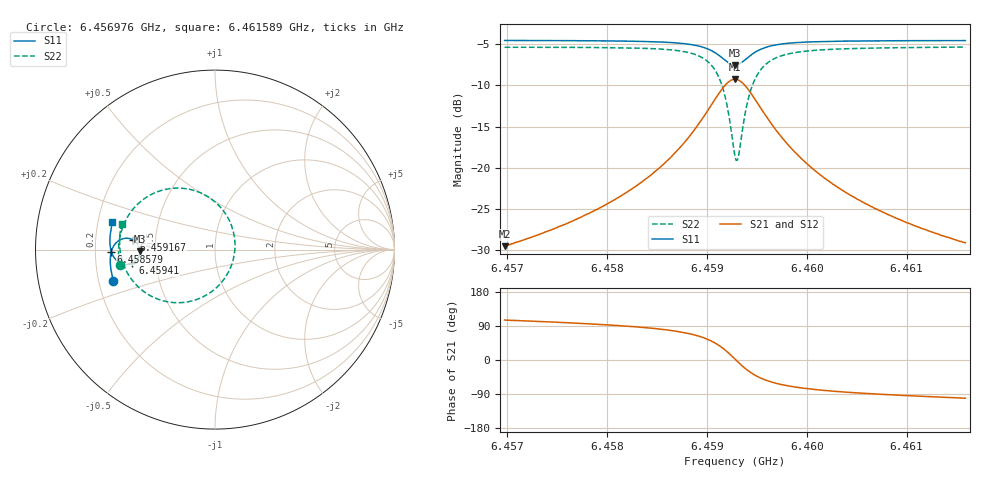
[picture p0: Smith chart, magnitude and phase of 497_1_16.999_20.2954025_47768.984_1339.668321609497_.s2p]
#  HZ  S  RI  R  50.00
! Rohde & Schwarz Vector Network Analyzer
! Rohde-Schwarz,ZNB20-2Port,1311601062101988,3.16
! Created: UTC 3/20/2024, 11:14:19 PM
! freq[Hz]  re:S11  im:S11  re:S21  im:S21  re:S12  im:S12  re:S22  im:S22
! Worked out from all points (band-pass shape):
!   401 points, 6.456976 GHz to 6.461589 GHz, reference 50 ohm
!   highest |S21| = -9.26 dB at 6.459283 GHz (marker M1); lowest = -29.5 dB at 6.456976 GHz (marker M2)
!   |S21| within 3 dB of the highest: 6.459052 GHz to 6.459514 GHz (461.8 kHz wide, 0.00715 % of centre)
!   lowest |S11| = -7.6 dB at 6.459283 GHz (marker M3), VSWR 2.44, Z = 20.5 - j0.486 ohm
!   |S11| at or under -10 dB: nowhere
!   |S22| runs from -19.1 to -5.4 dB; largest |S21 - S12| = 0.013
!   S11 on the Smith chart (normalised r, x): 6.456976 GHz: 0.26, -0.14; 6.458579 GHz: 0.27, -0.01; 6.459167 GHz: 0.37, +0.05; 6.45941 GHz: 0.37, -0.07; 6.461589 GHz: 0.26, +0.12
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6.4569764e9  -0.5667 -0.1723  -0.00905 0.0323  -0.0072 0.0323  -0.5317 -0.0848
6.457749e9  -0.5808 -0.1047  -0.00576 0.0502  -0.00304 0.0496  -0.5373 0.00524
6.4581642e9  -0.5836 -0.0632  6.18e-05 0.0691  0.00331 0.0676  -0.5297 0.0705
6.4585217e9  -0.5798 -0.0208  0.0142 0.0984  0.018 0.0957  -0.5039 0.1504
6.4585794e9  -0.5781 -0.0128  0.0184 0.1052  0.0225 0.1022  -0.4958 0.167
6.4587869e9  -0.5651 0.0192  0.046 0.1376  0.05 0.1327  -0.4444 0.2395
6.4589369e9  -0.5424 0.0455  0.091 0.168  0.0942 0.1614  -0.3612 0.304
6.4590752e9  -0.4988 0.0631  0.1781 0.1846  0.179 0.1772  -0.2023 0.3427
6.4591675e9  -0.4544 0.0529  0.2675 0.1535  0.2677 0.1476  -0.0362 0.2928
6.4592136e9  -0.4334 0.0341  0.311 0.1106  0.3122 0.1055  0.0465 0.2166
6.4592828e9  -0.4186 -0.00977  0.3441 0.0142  0.3479 0.00723  0.1113 0.0372
6.4593059e9  -0.4204 -0.0257  0.3422 -0.0211  0.3462 -0.0294  0.1072 -0.0295
6.4593174e9  -0.4225 -0.0334  0.3385 -0.0382  0.3424 -0.0471  0.1001 -0.0618
6.4593635e9  -0.4381 -0.0593  0.3102 -0.0979  0.3123 -0.1097  0.0426 -0.1749
6.4594097e9  -0.46 -0.0756  0.2683 -0.1389  0.2673 -0.152  -0.0421 -0.2496
6.4595019e9  -0.5033 -0.0822  0.1836 -0.1699  0.1774 -0.1814  -0.2106 -0.2958
6.4596518e9  -0.547 -0.0618  0.096 -0.1562  0.0874 -0.1623  -0.3778 -0.2467
6.4598133e9  -0.5683 -0.0342  0.0513 -0.1283  0.0436 -0.1312  -0.4583 -0.1747
6.4600555e9  -0.5811 0.00139  0.0222 -0.0969  0.0163 -0.0975  -0.506 -0.0924
6.4604014e9  -0.5855 0.0424  0.0061 -0.0702  0.00203 -0.0697  -0.5275 -0.0133
6.4608281e9  -0.5834 0.0853  -0.00149 -0.0518  -0.00426 -0.0509  -0.5316 0.055
6.4615893e9  -0.5712 0.1526  -0.00652 -0.0345  -0.0083 -0.0335  -0.5202 0.1446
